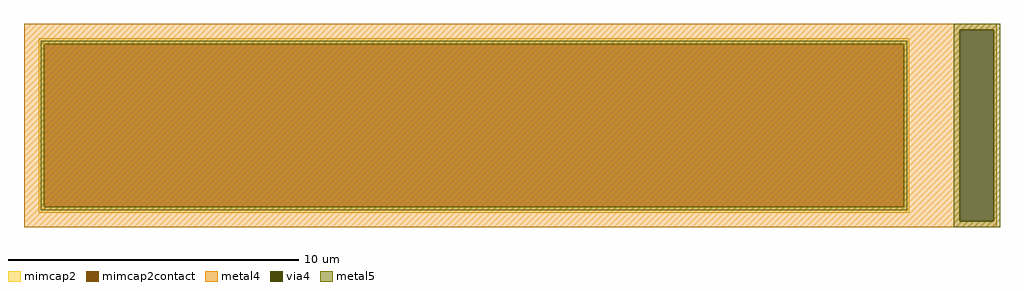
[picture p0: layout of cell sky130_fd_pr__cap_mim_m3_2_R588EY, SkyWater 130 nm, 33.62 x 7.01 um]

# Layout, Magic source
magic
tech sky130A
magscale 1 2
<< metal4 >>
rect -3351 659 3351 700
rect -3351 -659 3095 659
rect 3331 -659 3351 659
rect -3351 -700 3351 -659
<< via4 >>
rect 3095 -659 3331 659
<< mimcap2 >>
rect -3251 560 2749 600
rect -3251 -560 -3211 560
rect 2709 -560 2749 560
rect -3251 -600 2749 -560
<< mimcap2contact >>
rect -3211 -560 2709 560
<< metal5 >>
rect 3053 659 3373 701
rect -3235 560 2733 584
rect -3235 -560 -3211 560
rect 2709 -560 2733 560
rect -3235 -584 2733 -560
rect 3053 -659 3095 659
rect 3331 -659 3373 659
rect 3053 -701 3373 -659
<< properties >>
string FIXED_BBOX -3351 -700 2849 700
string gencell sky130_fd_pr__cap_mim_m3_2
string library sky130
string parameters w 30 l 6 val 373.68 carea 2.00 cperi 0.19 nx 1 ny 1 dummy 0 square 0 lmin 2.00 wmin 2.00 lmax 30.0 wmax 30.0 dc 0 bconnect 1 tconnect 1 ccov 100
<< end >>
